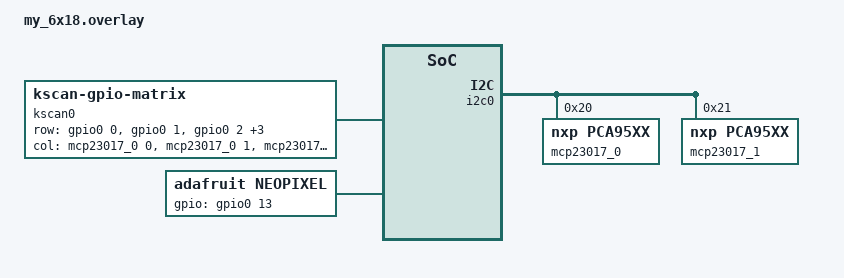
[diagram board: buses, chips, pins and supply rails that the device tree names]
/ {
    compatible = "zmk,keyboard-shield";

    chosen {
        zmk,kscan = &kscan0;
        zmk,backlight = &neopixel0;
    };

    kscan0: kscan {
        compatible = "zmk,kscan-gpio-matrix";
        diode-direction = "col2row";

        row-gpios = <&gpio0 0 GPIO_ACTIVE_HIGH>,
                    <&gpio0 1 GPIO_ACTIVE_HIGH>,
                    <&gpio0 2 GPIO_ACTIVE_HIGH>,
                    <&gpio0 3 GPIO_ACTIVE_HIGH>,
                    <&gpio0 4 GPIO_ACTIVE_HIGH>,
                    <&gpio0 5 GPIO_ACTIVE_HIGH>;

        col-gpios =
            <&mcp23017_0 0 GPIO_ACTIVE_HIGH>, <&mcp23017_0 1 GPIO_ACTIVE_HIGH>,
            <&mcp23017_0 2 GPIO_ACTIVE_HIGH>, <&mcp23017_0 3 GPIO_ACTIVE_HIGH>,
            <&mcp23017_0 4 GPIO_ACTIVE_HIGH>, <&mcp23017_0 5 GPIO_ACTIVE_HIGH>,
            <&mcp23017_0 6 GPIO_ACTIVE_HIGH>, <&mcp23017_0 7 GPIO_ACTIVE_HIGH>,
            <&mcp23017_0 8 GPIO_ACTIVE_HIGH>, <&mcp23017_0 9 GPIO_ACTIVE_HIGH>,
            <&mcp23017_0 10 GPIO_ACTIVE_HIGH>, <&mcp23017_0 11 GPIO_ACTIVE_HIGH>,
            <&mcp23017_0 12 GPIO_ACTIVE_HIGH>, <&mcp23017_0 13 GPIO_ACTIVE_HIGH>,
            <&mcp23017_0 14 GPIO_ACTIVE_HIGH>, <&mcp23017_0 15 GPIO_ACTIVE_HIGH>,
            <&mcp23017_1 0 GPIO_ACTIVE_HIGH>, <&mcp23017_1 1 GPIO_ACTIVE_HIGH>;
    };

    neopixel0: neopixel {
        compatible = "adafruit,neopixel";
        gpios = <&gpio0 13 GPIO_ACTIVE_HIGH>;
        #led-cells = <1>;
        label = "NEOPIXEL";
        status = "okay";
        count = <108>;
    };
};

&i2c0 {
    status = "okay";

    mcp23017_0: mcp23017@20 {
        compatible = "nxp,pca95xx";
        reg = <0x20>;
        gpio-controller;
        #gpio-cells = <2>;
    };

    mcp23017_1: mcp23017@21 {
        compatible = "nxp,pca95xx";
        reg = <0x21>;
        gpio-controller;
        #gpio-cells = <2>;
    };
};
